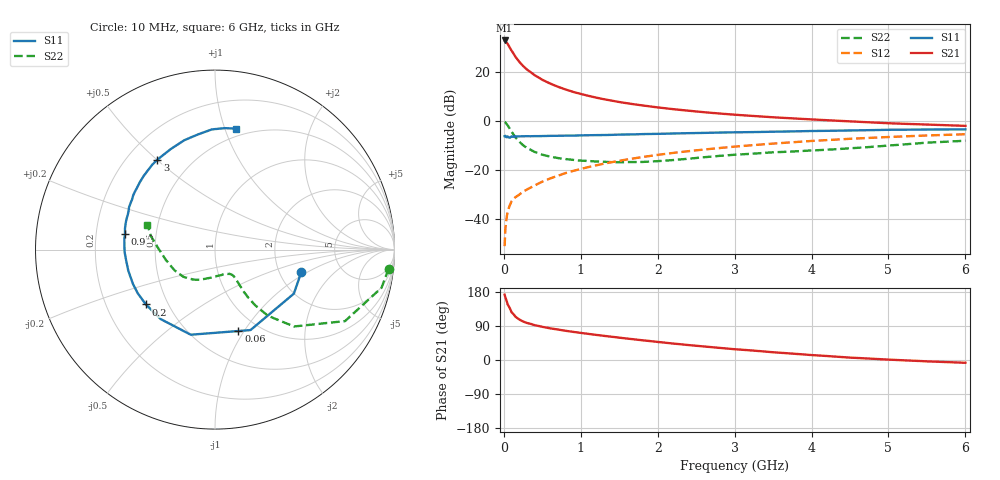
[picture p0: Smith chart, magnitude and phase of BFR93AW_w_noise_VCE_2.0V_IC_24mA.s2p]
! (c) 2017  Infineon Technologies AG, Munich
! Infineon Technologies  Discrete & RF Semiconductors
! BFR93AW
! VCE =  2.0 V,  IC =  24 mA
! Common Emitter S-Parameters:  Jan 2017
# GHz  S  MA  R  50
!  f  S11  S21  S12  S22
! GHz  MAG  ANG  MAG  ANG  MAG  ANG  MAG  ANG
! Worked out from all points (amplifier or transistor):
!   77 points, 10 MHz to 6 GHz, reference 50 ohm
!   highest |S21| = 33.0 dB at 10 MHz (marker M1)
!   |S21| within 3 dB of that: start of sweep to 78.61 MHz
!   unconditionally stable (mu >= 1): 564.8 MHz to 2.183 GHz
!   at 130 MHz: K = 0.51, MSG = 29.6 dB, |S12| = -31.7 dB
!   at 2.2 GHz: K = 1.00, MSG = 8.9 dB, |S12| = -12.9 dB
!   at 6 GHz: K = 0.91, MSG = 1.7 dB, |S12| = -5.3 dB
!   lowest NFmin = 1.63 dB at 450 MHz
!   S11 on the Smith chart (normalised r, x): 10 MHz: 2.63, -0.89; 60 MHz: 0.81, -0.94; 200 MHz: 0.38, -0.30; 900 MHz: 0.33, +0.08; 3 GHz: 0.32, +0.50; 6 GHz: 0.43, +1.10
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0.01  0.4967 -14.8  44.89 172.5  0.0028 86.8  0.9731 -6.3
0.02  0.5033 -29.2  44.48 165.3  0.0063 83.8  0.952 -12.9
0.05  0.49 -66.2  38.19 146.3  0.0144 66.0  0.8268 -28.8
0.06  0.4721 -73.9  35.83 143.2  0.0161 64.0  0.7804 -31.2
0.1  0.4931 -105.9  27.87 125.9  0.0231 59.1  0.6136 -44.3
0.15  0.4914 -128.0  20.91 114.4  0.028 55.3  0.4703 -51.4
0.2  0.4916 -141.6  16.46 107.0  0.0316 57.7  0.3827 -54.2
0.25  0.4945 -150.6  13.53 101.6  0.0365 58.6  0.325 -55.3
0.3  0.4955 -157.3  11.43 97.8  0.0402 59.8  0.2847 -55.6
0.4  0.4972 -166.4  8.748 91.9  0.0485 63.5  0.2365 -55.2
0.5  0.4988 -173.1  7.051 87.5  0.0583 65.1  0.2076 -54.8
0.6  0.5036 -178.3  5.927 83.7  0.0677 66.0  0.1898 -54.8
0.7  0.5054 177.5  5.101 80.5  0.0768 67.7  0.1774 -55.1
0.9  0.5089 170.0  3.994 74.3  0.0966 68.0  0.1627 -57.5
1.1  0.5185 163.8  3.31 68.9  0.116 68.0  0.1543 -61.6
1.5  0.5343 153.6  2.477 59.0  0.1555 66.2  0.1454 -73.7
2.1  0.5579 140.0  1.844 45.6  0.2156 61.7  0.1568 -97.4
3  0.5952 122.6  1.363 28.5  0.3031 53.2  0.2071 -126.4
3.1  0.5974 120.8  1.33 27.0  0.3122 52.1  0.2112 -129.2
4.1  0.6353 104.2  1.072 11.8  0.4042 41.3  0.2574 -156.4
5.1  0.6711 90.3  0.901 0.1  0.4841 30.1  0.3275 175.7
6  0.6845 80.0  0.806 -7.4  0.5437 20.0  0.4007 159.9
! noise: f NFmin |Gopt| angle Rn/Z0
0.45  1.63  0.16  169  0.16
0.9  1.9  0.24  180  0.16
1.9  2.91  0.49  -137  0.25
2.4  3.56  0.55  -125  0.49
